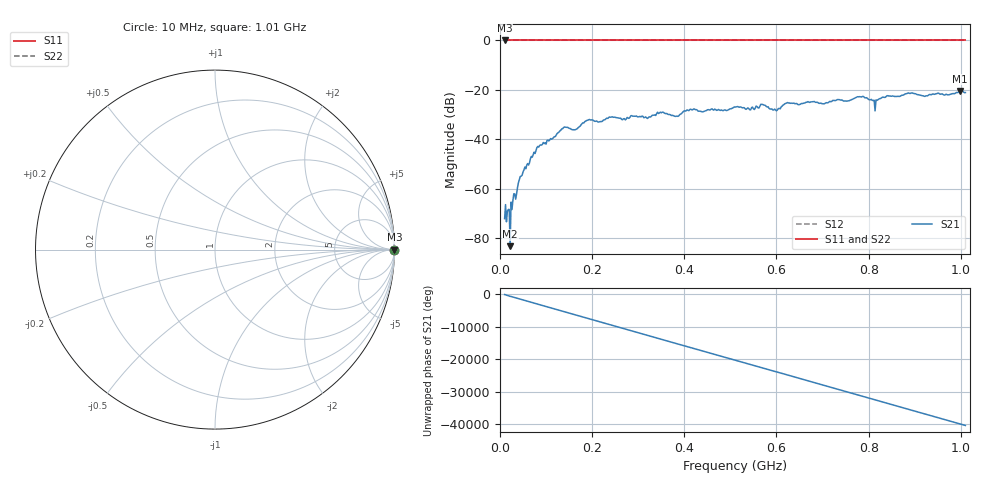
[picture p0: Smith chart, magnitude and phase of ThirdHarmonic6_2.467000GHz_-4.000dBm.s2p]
! 8/17/2025 4:30:40 AM
! C:\ANRITSUVNA\TEMP\TEMP.S2P
! CHANNEL.1
! TR.MEASUREMENT
! RAW.DATA
! RF.CORRECTION.OFF
! AVERAGING.OFF
! IF.BANDWIDTH: 5KHZ
! SWEEPTYPE:  FREQ.SWEEP(Linear)
! Reference Plane Port Info
! PORT:  PORT1  PORT2
! DISTANCE:  0  m  0  m
! TIME:  0  s  0  s
! PHASE.OFFSET:  0  deg.  0  deg.
! LOSS:  0  dB  0  dB
! REF.LOSS:  0  dB  0  dB
! REF.FREQ:  0  Hz  0  Hz
! Power Info
! POWER:  -20  dBm  -20  dBm
! EFF.POWER:  -20  dBm  -20  dBm
! SOURCE.ATTEN:  0  dB  0  dB
! TEST.ATTEN:  0  dB  0  dB
# GHZ S RI R 50.0
! FREQ.GHZ  S11RE  S11IM  S21RE  S21IM  S12RE  S12IM  S22RE  S22IM
!; PortSelection: Port_12
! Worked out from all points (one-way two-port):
!   501 points, 10 MHz to 1.01 GHz, reference 50 ohm
!   highest |S21| = -20.45 dB at 998 MHz (marker M1); lowest = -83.2 dB at 22 MHz (marker M2)
!   lowest |S11| = 0.0 dB at 10 MHz (marker M3)
!   |S11| at or under -10 dB: nowhere
!   |S22| runs from 0.0 to 0.0 dB; largest |S21 - S12| = 1.1
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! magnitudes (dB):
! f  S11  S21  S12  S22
! 10 MHz  0.0  -72.1  0.0  0.0
! 22 MHz  0.0  -83.2  0.0  0.0
! 26 MHz  0.0  -68.4  0.0  0.0
! 28 MHz  0.0  -64.6  0.0  0.0
! 44 MHz  0.0  -55.0  0.0  0.0
! 84 MHz  0.0  -43.2  0.0  0.0
! 138 MHz  0.0  -35.2  0.0  0.0
! 162 MHz  0.0  -36.1  0.0  0.0
! 178 MHz  0.0  -33.7  0.0  0.0
! 344 MHz  0.0  -29.5  0.0  0.0
! 384 MHz  0.0  -30.6  0.0  0.0
! 416 MHz  0.0  -28.1  0.0  0.0
! 510 MHz  0.0  -26.9  0.0  0.0
! 570 MHz  0.0  -25.9  0.0  0.0
! 598 MHz  0.0  -28.1  0.0  0.0
! 622 MHz  0.0  -25.3  0.0  0.0
! 678 MHz  0.0  -24.8  0.0  0.0
! 784 MHz  0.0  -22.9  0.0  0.0
! 814 MHz  0.0  -28.5  0.0  0.0
! 844 MHz  0.0  -22.5  0.0  0.0
! 998 MHz  0.0  -20.4  0.0  0.0
! 1.01 GHz  0.0  -21.1  0.0  0.0
